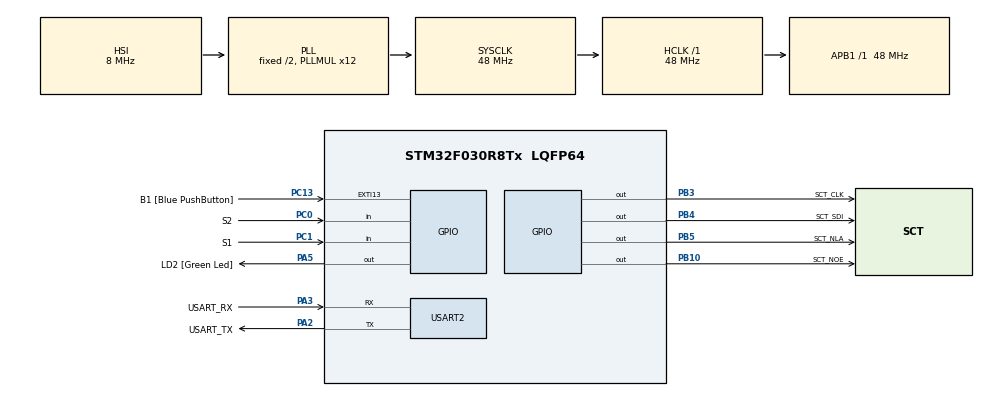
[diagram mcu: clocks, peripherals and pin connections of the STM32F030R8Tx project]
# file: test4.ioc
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Mcu.Family=STM32F0
Mcu.Name=STM32F030R8Tx
Mcu.Package=LQFP64
PA13.GPIO_Label=TMS
PA13.Mode=Serial_Wire
PA13.Signal=SYS_SWDIO
PA14.GPIO_Label=TCK
PA14.Mode=Serial_Wire
PA14.Signal=SYS_SWCLK
PA2.GPIO_Label=USART_TX
PA2.GPIO_Mode=GPIO_MODE_AF_PP
PA2.GPIO_PuPd=GPIO_NOPULL
PA2.GPIO_Speed=GPIO_SPEED_FREQ_LOW
PA2.Mode=Asynchronous
PA2.Signal=USART2_TX
PA3.GPIO_Label=USART_RX
PA3.GPIO_Mode=GPIO_MODE_AF_PP
PA3.GPIO_PuPd=GPIO_NOPULL
PA3.GPIO_Speed=GPIO_SPEED_FREQ_LOW
PA3.Mode=Asynchronous
PA3.Signal=USART2_RX
PA5.GPIO_Label=LD2 [Green Led]
PA5.GPIO_Mode=GPIO_MODE_OUTPUT_PP
PA5.GPIO_PuPd=GPIO_NOPULL
PA5.GPIO_Speed=GPIO_SPEED_FREQ_LOW
PA5.Signal=GPIO_Output
PB10.GPIO_Label=SCT_NOE
PB10.Signal=GPIO_Output
PB3.GPIO_Label=SCT_CLK
PB3.Signal=GPIO_Output
PB4.GPIO_Label=SCT_SDI
PB4.Signal=GPIO_Output
PB5.GPIO_Label=SCT_NLA
PB5.Signal=GPIO_Output
PC0.GPIO_Label=S2
PC0.GPIO_PuPd=GPIO_PULLUP
PC0.Signal=GPIO_Input
PC1.GPIO_Label=S1
PC1.GPIO_PuPd=GPIO_PULLUP
PC1.Signal=GPIO_Input
PC13.GPIO_Label=B1 [Blue PushButton]
PC13.GPIO_ModeDefaultEXTI=GPIO_MODE_IT_FALLING
PC13.Signal=GPXTI13
PC14-OSC32_IN.Mode=LSE-External-Oscillator
PC14-OSC32_IN.Signal=RCC_OSC32_IN
PC15-OSC32_OUT.Mode=LSE-External-Oscillator
PC15-OSC32_OUT.Signal=RCC_OSC32_OUT
PF0-OSC_IN.Mode=HSE-External-Clock-Source
PF0-OSC_IN.Signal=RCC_OSC_IN
PF1-OSC_OUT.Signal=RCC_OSC_OUT
ProjectManager.HeapSize=0x200
ProjectManager.StackSize=0x400
ProjectManager.TargetToolchain=STM32CubeIDE
RCC.AHBFreq_Value=48000000
RCC.APB1Freq_Value=48000000
RCC.APB1TimFreq_Value=48000000
RCC.HCLKFreq_Value=48000000
RCC.PLLMUL=RCC_PLL_MUL12
RCC.SYSCLKFreq_VALUE=48000000
RCC.SYSCLKSource=RCC_SYSCLKSOURCE_PLLCLK
USART2.VirtualMode-Asynchronous=VM_ASYNC
board=NUCLEO-F030R8

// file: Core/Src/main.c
/* USER CODE BEGIN Header */
/**
  ******************************************************************************
  * @file           : main.c
  * @brief          : Main program body
  ******************************************************************************
  * @attention
  *
  * Copyright (c) 2023 STMicroelectronics.
  * All rights reserved.
  *
  * This software is licensed under terms that can be found in the LICENSE file
  * in the root directory of this software component.
  * If no LICENSE file comes with this software, it is provided AS-IS.
  *
  ******************************************************************************
  */
/* USER CODE END Header */
#include "main.h"

/* USER CODE BEGIN Includes */
#include "sct.h"

/* USER CODE END Includes */

UART_HandleTypeDef huart2;

void SystemClock_Config(void);
static void MX_GPIO_Init(void);
static void MX_USART2_UART_Init(void);

int main(void)
{

  /* MCU Configuration--------------------------------------------------------*/

  /* Reset of all peripherals, Initializes the Flash interface and the Systick. */
  HAL_Init();

  /* Configure the system clock */
  SystemClock_Config();

  /* Initialize all configured peripherals */
  MX_GPIO_Init();
  MX_USART2_UART_Init();
  /* USER CODE BEGIN 2 */

  sct_init();
  sct_led(0x300671F5);
  HAL_Delay(1000);   //zpozdeni slova na sct_led

  /* USER CODE END 2 */

  /* Infinite loop */
  while (1)
  {

    /* USER CODE BEGIN 3 */

	  static uint32_t lastDisplayTicks = 0;
	  static enum {SHOW_Count,SHOW_Name} state = SHOW_Name; //stavovy automat

		if (HAL_GetTick() >= lastDisplayTicks + 50) { //cteni tlacitek
			lastDisplayTicks = HAL_GetTick();

			if (!HAL_GPIO_ReadPin(GPIOC, S1_Pin)) {
				state = SHOW_Count;
				lastDisplayTicks = HAL_GetTick();
			}

			else if (!HAL_GPIO_ReadPin(GPIOC, S2_Pin)) {
				state = SHOW_Name;
				lastDisplayTicks = HAL_GetTick();
			}

			switch (state) {
			case SHOW_Name:
				sct_led(0x300671F5);

				break;

			case SHOW_Count:
				for (uint16_t j = 0; j < 500; j++) {
					sct_value(j);
					//sct_led(0x80088);
					for (volatile uint32_t i = 0; i < 500000; i++) { //casovani, 500 000 = 1s
						//sct_led(0x0);
					}

				}
				break;

			default:
				state = SHOW_Name;

			}

		}
  }
  /* USER CODE END 3 */
}

void SystemClock_Config(void)
{
  RCC_OscInitTypeDef RCC_OscInitStruct = {0};
  RCC_ClkInitTypeDef RCC_ClkInitStruct = {0};

  /** Initializes the RCC Oscillators according to the specified parameters
  * in the RCC_OscInitTypeDef structure.
  */
  RCC_OscInitStruct.OscillatorType = RCC_OSCILLATORTYPE_HSI;
  RCC_OscInitStruct.HSIState = RCC_HSI_ON;
  RCC_OscInitStruct.HSICalibrationValue = RCC_HSICALIBRATION_DEFAULT;
  RCC_OscInitStruct.PLL.PLLState = RCC_PLL_ON;
  RCC_OscInitStruct.PLL.PLLSource = RCC_PLLSOURCE_HSI;
  RCC_OscInitStruct.PLL.PLLMUL = RCC_PLL_MUL12;
  RCC_OscInitStruct.PLL.PREDIV = RCC_PREDIV_DIV1;
  if (HAL_RCC_OscConfig(&RCC_OscInitStruct) != HAL_OK)
  {
    Error_Handler();
  }

  /** Initializes the CPU, AHB and APB buses clocks
  */
  RCC_ClkInitStruct.ClockType = RCC_CLOCKTYPE_HCLK|RCC_CLOCKTYPE_SYSCLK
                              |RCC_CLOCKTYPE_PCLK1;
  RCC_ClkInitStruct.SYSCLKSource = RCC_SYSCLKSOURCE_PLLCLK;
  RCC_ClkInitStruct.AHBCLKDivider = RCC_SYSCLK_DIV1;
  RCC_ClkInitStruct.APB1CLKDivider = RCC_HCLK_DIV1;

  if (HAL_RCC_ClockConfig(&RCC_ClkInitStruct, FLASH_LATENCY_1) != HAL_OK)
  {
    Error_Handler();
  }
}

static void MX_USART2_UART_Init(void)
{

  huart2.Instance = USART2;
  huart2.Init.BaudRate = 38400;
  huart2.Init.WordLength = UART_WORDLENGTH_8B;
  huart2.Init.StopBits = UART_STOPBITS_1;
  huart2.Init.Parity = UART_PARITY_NONE;
  huart2.Init.Mode = UART_MODE_TX_RX;
  huart2.Init.HwFlowCtl = UART_HWCONTROL_NONE;
  huart2.Init.OverSampling = UART_OVERSAMPLING_16;
  huart2.Init.OneBitSampling = UART_ONE_BIT_SAMPLE_DISABLE;
  huart2.AdvancedInit.AdvFeatureInit = UART_ADVFEATURE_NO_INIT;
  if (HAL_UART_Init(&huart2) != HAL_OK)
  {
    Error_Handler();
  }

}

static void MX_GPIO_Init(void)
{
  GPIO_InitTypeDef GPIO_InitStruct = {0};

  /* GPIO Ports Clock Enable */
  __HAL_RCC_GPIOC_CLK_ENABLE();
  __HAL_RCC_GPIOF_CLK_ENABLE();
  __HAL_RCC_GPIOA_CLK_ENABLE();
  __HAL_RCC_GPIOB_CLK_ENABLE();

  /*Configure GPIO pin Output Level */
  HAL_GPIO_WritePin(GPIOA, GPIO_PIN_5, GPIO_PIN_RESET);

  /*Configure GPIO pin Output Level */
  HAL_GPIO_WritePin(GPIOB, GPIO_PIN_10|GPIO_PIN_3|GPIO_PIN_4|GPIO_PIN_5, GPIO_PIN_RESET);

  /*Configure GPIO pin : PC13 */
  GPIO_InitStruct.Pin = GPIO_PIN_13;
  GPIO_InitStruct.Mode = GPIO_MODE_IT_FALLING;
  GPIO_InitStruct.Pull = GPIO_NOPULL;
  HAL_GPIO_Init(GPIOC, &GPIO_InitStruct);

  /*Configure GPIO pins : PC0 PC1 */
  GPIO_InitStruct.Pin = GPIO_PIN_0|GPIO_PIN_1;
  GPIO_InitStruct.Mode = GPIO_MODE_INPUT;
  GPIO_InitStruct.Pull = GPIO_PULLUP;
  HAL_GPIO_Init(GPIOC, &GPIO_InitStruct);

  /*Configure GPIO pin : PA5 */
  GPIO_InitStruct.Pin = GPIO_PIN_5;
  GPIO_InitStruct.Mode = GPIO_MODE_OUTPUT_PP;
  GPIO_InitStruct.Pull = GPIO_NOPULL;
  GPIO_InitStruct.Speed = GPIO_SPEED_FREQ_LOW;
  HAL_GPIO_Init(GPIOA, &GPIO_InitStruct);

  /*Configure GPIO pins : PB10 PB3 PB4 PB5 */
  GPIO_InitStruct.Pin = GPIO_PIN_10|GPIO_PIN_3|GPIO_PIN_4|GPIO_PIN_5;
  GPIO_InitStruct.Mode = GPIO_MODE_OUTPUT_PP;
  GPIO_InitStruct.Pull = GPIO_NOPULL;
  GPIO_InitStruct.Speed = GPIO_SPEED_FREQ_LOW;
  HAL_GPIO_Init(GPIOB, &GPIO_InitStruct);

}

void Error_Handler(void)
{
  __disable_irq();
  while (1)
  {
  }
}
